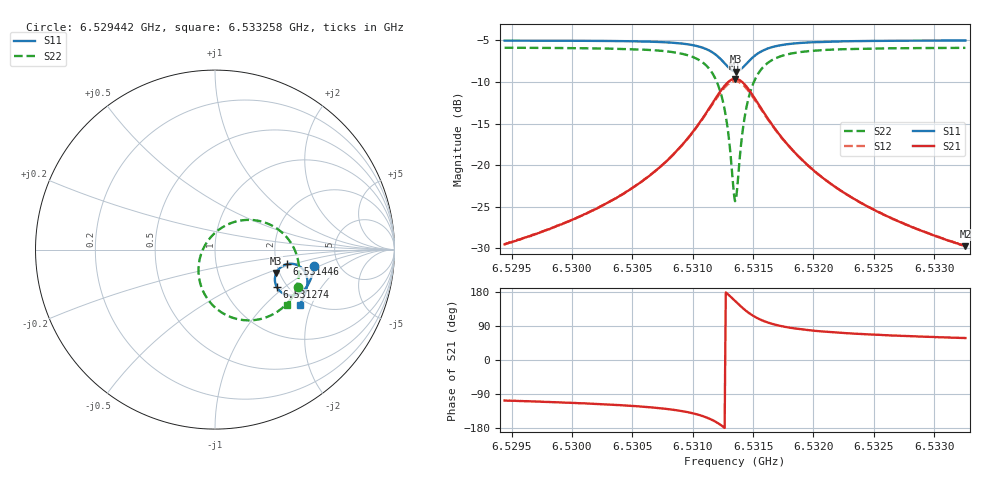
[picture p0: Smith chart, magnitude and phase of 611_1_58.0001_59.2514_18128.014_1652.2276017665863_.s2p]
#  HZ  S  RI  R  50.00
! Rohde & Schwarz Vector Network Analyzer
! Rohde-Schwarz,ZNB20-2Port,1311601062101988,3.16
! Created: UTC 3/21/2024, 1:17:43 AM
! freq[Hz]  re:S11  im:S11  re:S21  im:S21  re:S12  im:S12  re:S22  im:S22
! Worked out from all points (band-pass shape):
!   401 points, 6.529442 GHz to 6.533258 GHz, reference 50 ohm
!   highest |S21| = -9.62 dB at 6.53135 GHz (marker M1); lowest = -29.8 dB at 6.533258 GHz (marker M2)
!   |S21| within 3 dB of the highest: 6.531161 GHz to 6.531542 GHz (381.5 kHz wide, 0.00584 % of centre)
!   lowest |S11| = -8.7 dB at 6.53136 GHz (marker M3), VSWR 2.15, Z = 96.1 - j28.9 ohm
!   |S11| at or under -10 dB: nowhere
!   |S22| runs from -24.4 to -5.9 dB; largest |S21 - S12| = 0.014
!   S11 on the Smith chart (normalised r, x): 6.529442 GHz: 3.30, -0.87; 6.531274 GHz: 1.77, -0.88; 6.531446 GHz: 2.27, -0.44; 6.533258 GHz: 1.83, -1.64
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6.5294419e9  0.5533 -0.09  -0.0097 -0.0319  -0.0105 -0.0317  0.464 -0.2065
6.5300812e9  0.5406 -0.1437  -0.0204 -0.0452  -0.0215 -0.0448  0.4289 -0.2665
6.5304151e9  0.5286 -0.1754  -0.0327 -0.0579  -0.0344 -0.057  0.3959 -0.3056
6.5307204e9  0.5091 -0.2092  -0.0577 -0.0767  -0.0601 -0.0751  0.3393 -0.3512
6.5309494e9  0.4776 -0.2392  -0.1041 -0.0967  -0.1069 -0.0929  0.2466 -0.3885
6.5311116e9  0.4285 -0.2556  -0.1807 -0.0986  -0.1826 -0.0909  0.108 -0.3827
6.531207e9  0.3794 -0.2442  -0.256 -0.0622  -0.2534 -0.0515  -0.0154 -0.307
6.5312738e9  0.3442 -0.2087  -0.3058 0.00925  -0.2975 0.0193  -0.0847 -0.1782
6.5313024e9  0.3355 -0.1847  -0.3153 0.0535  -0.3046 0.0617  -0.0919 -0.1037
6.5313311e9  0.3341 -0.1576  -0.3122 0.1021  -0.2999 0.1072  -0.0776 -0.025
6.5313502e9  0.338 -0.1391  -0.302 0.1339  -0.2893 0.1368  -0.0551 0.0251
6.5313597e9  0.3414 -0.1303  -0.2946 0.1491  -0.282 0.1509  -0.0402 0.0483
6.5313692e9  0.3458 -0.1221  -0.2856 0.1632  -0.2733 0.1641  -0.0231 0.0699
6.5314169e9  0.3772 -0.0906  -0.2261 0.216  -0.2167 0.2128  0.0834 0.1455
6.5314456e9  0.3998 -0.0814  -0.1858 0.2315  -0.1785 0.2271  0.1525 0.1634
6.5315124e9  0.4467 -0.0821  -0.1044 0.2303  -0.1009 0.2266  0.288 0.1471
6.5316078e9  0.4868 -0.1064  -0.0359 0.1943  -0.0342 0.1922  0.3979 0.0709
6.5317509e9  0.5094 -0.1447  0.00418 0.1422  0.00545 0.1416  0.4558 -0.0326
6.5319894e9  0.5146 -0.1892  0.0201 0.0924  0.0212 0.0919  0.4678 -0.1357
6.5322947e9  0.5076 -0.2272  0.0218 0.0615  0.0229 0.0611  0.4546 -0.2061
6.5326287e9  0.4959 -0.2586  0.0205 0.044  0.0211 0.0437  0.4357 -0.2532
6.5332584e9  0.4709 -0.307  0.0172 0.0275  0.0179 0.0273  0.4006 -0.3112
